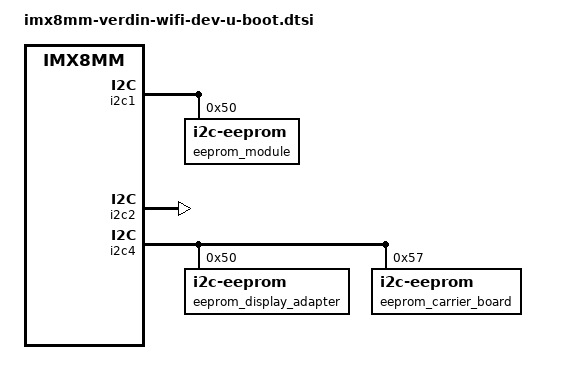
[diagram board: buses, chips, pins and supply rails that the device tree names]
// SPDX-License-Identifier: GPL-2.0-or-later OR MIT
/*
 * Copyright 2020-2022 Toradex
 */

#include "imx8mm-u-boot.dtsi"

/ {
	aliases {
		eeprom0 = &eeprom_module;
		eeprom1 = &eeprom_carrier_board;
		eeprom2 = &eeprom_display_adapter;
	};

	sysinfo {
		compatible = "toradex,sysinfo";
	};

	wdt-reboot {
		compatible = "wdt-reboot";
		bootph-pre-ram;
		wdt = <&wdog1>;
	};
};

&{/soc@0/bus@30800000/i2c@30a20000/pmic@25} {
	bootph-pre-ram;
};

&{/soc@0/bus@30800000/i2c@30a20000/pmic@25/regulators} {
	bootph-pre-ram;
};

&aips4 {
	bootph-pre-ram;
};

&binman_uboot {
	offset = <0x5fc00>;
};

&gpio1 {
	bootph-pre-ram;
};

&gpio2 {
	bootph-pre-ram;
};

&gpio3 {
	bootph-pre-ram;
};

&gpio4 {
	bootph-pre-ram;
};

&gpio5 {
	bootph-pre-ram;

	ctrl-sleep-moci-hog {
		bootph-pre-ram;
	};
};

&i2c1 {
	bootph-pre-ram;

	eeprom_module: eeprom@50 {
		compatible = "i2c-eeprom";
		pagesize = <16>;
		reg = <0x50>;
	};
};

&i2c2 {
	status = "okay";
};

&i2c4 {
	/* EEPROM on display adapter (MIPI DSI Display Adapter) */
	eeprom_display_adapter: eeprom@50 {
		compatible = "i2c-eeprom";
		pagesize = <16>;
		reg = <0x50>;
	};

	/* EEPROM on carrier board */
	eeprom_carrier_board: eeprom@57 {
		compatible = "i2c-eeprom";
		pagesize = <16>;
		reg = <0x57>;
	};
};

&pinctrl_ctrl_sleep_moci {
	bootph-pre-ram;
};

&pinctrl_i2c1 {
	bootph-pre-ram;
};

&pinctrl_pmic {
	bootph-pre-ram;
};

&pinctrl_uart1 {
	bootph-pre-ram;
};

&pinctrl_usdhc1 {
	bootph-pre-ram;
};

&pinctrl_usdhc2 {
	bootph-pre-ram;
};

&pinctrl_wdog {
	bootph-pre-ram;
};

&uart1 {
	bootph-pre-ram;
};

&usbmisc1 {
	bootph-pre-ram;
};

/* Verdin USB_1 */
&usbotg1 {
	bootph-pre-ram;
};

&usbphynop1 {
	bootph-pre-ram;
};

&usdhc1 {
	bootph-pre-ram;
};

&usdhc2 {
	bootph-pre-ram;
};

&usdhc3 {
	bootph-pre-ram;
};

&wdog1 {
	bootph-pre-ram;
};
